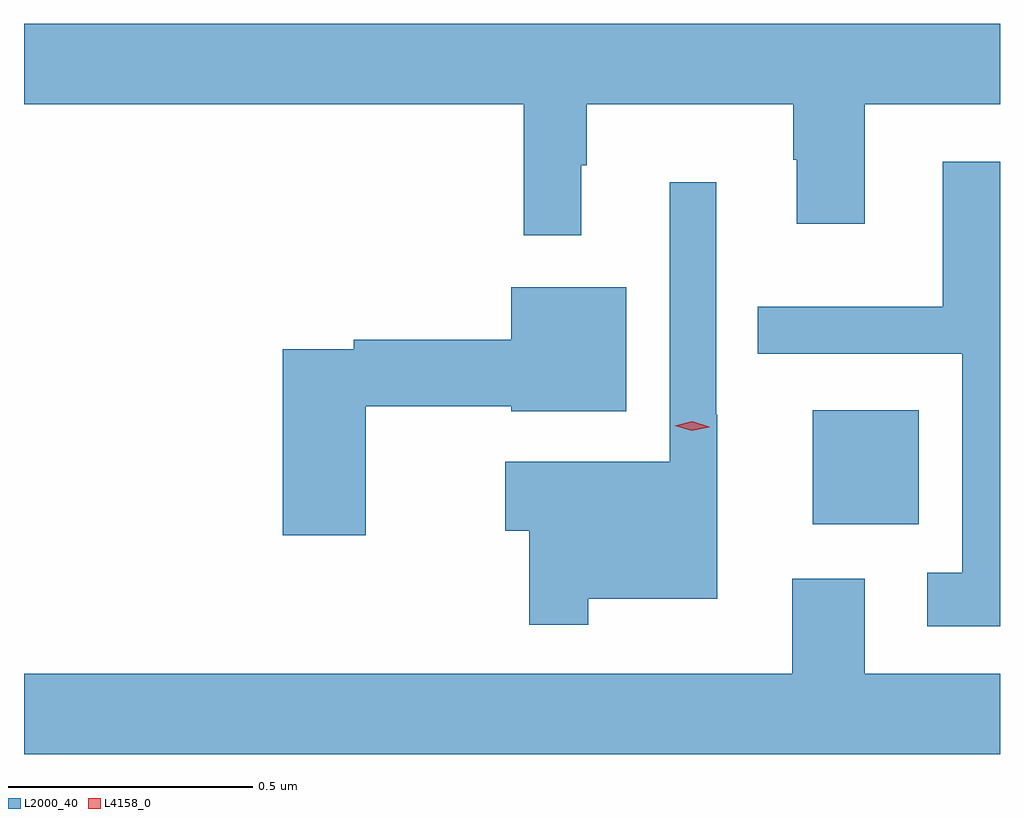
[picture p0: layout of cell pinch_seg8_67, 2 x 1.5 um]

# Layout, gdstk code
import gdstk
lib = gdstk.Library(unit=1e-6, precision=1e-09)
def R(c, l, rs):  # rectangles x0, y0, x1, y1
    for r in rs: c.add(gdstk.rectangle(r[:2], r[2:], *l))
def P(c, l, *ps):  # polygons
    for p in ps: c.add(gdstk.Polygon(p, *l))
L2000_40 = (2000, 40)
L4158_0 = (4158, 0)

pinch_seg8_67 = lib.new_cell('pinch_seg8_67')
R(pinch_seg8_67, L2000_40, [(906.344,1122.299,906.562,1122.532)])
P(pinch_seg8_67, L2000_40, [(905.87,1123.034),(905.881,1123.034),(905.881,1123.16),(906.304,1123.16),(906.304,1123.046),(906.311,1123.046),(906.311,1122.915),(906.451,1122.915),(906.451,1123.16),(906.728,1123.16),(906.728,1123.324),(904.728,1123.324),(904.728,1123.16),(905.752,1123.16),(905.752,1122.891),(905.87,1122.891)],
  [(906.728,1123.042),(906.611,1123.042),(906.611,1122.745),(906.232,1122.745),(906.232,1122.648),(906.651,1122.648),(906.651,1122.199),(906.579,1122.199),(906.579,1122.09),(906.728,1122.09)],
  [(905.884,1122.146),(906.149,1122.146),(906.149,1122.523),(906.147,1122.523),(906.147,1123),(906.051,1123),(906.051,1122.427),(905.714,1122.427),(905.714,1122.286),(905.763,1122.286),(905.763,1122.093),(905.884,1122.093)],
  [(905.428,1122.541),(905.726,1122.541),(905.726,1122.53),(905.962,1122.53),(905.962,1122.784),(905.726,1122.784),(905.726,1122.677),(905.404,1122.677),(905.404,1122.657),(905.258,1122.657),(905.258,1122.276),(905.428,1122.276)],
  [(906.728,1121.992),(906.451,1121.992),(906.451,1122.187),(906.302,1122.187),(906.302,1121.992),(904.728,1121.992),(904.728,1121.828),(906.728,1121.828)])
P(pinch_seg8_67, L4158_0, [(906.096,1122.49),(906.061,1122.501),(906.061,1122.501),(906.061,1122.501),(906.097,1122.51),(906.132,1122.499),(906.133,1122.498),(906.132,1122.498)])

lib.write_gds('pinch_seg8_67.gds')
